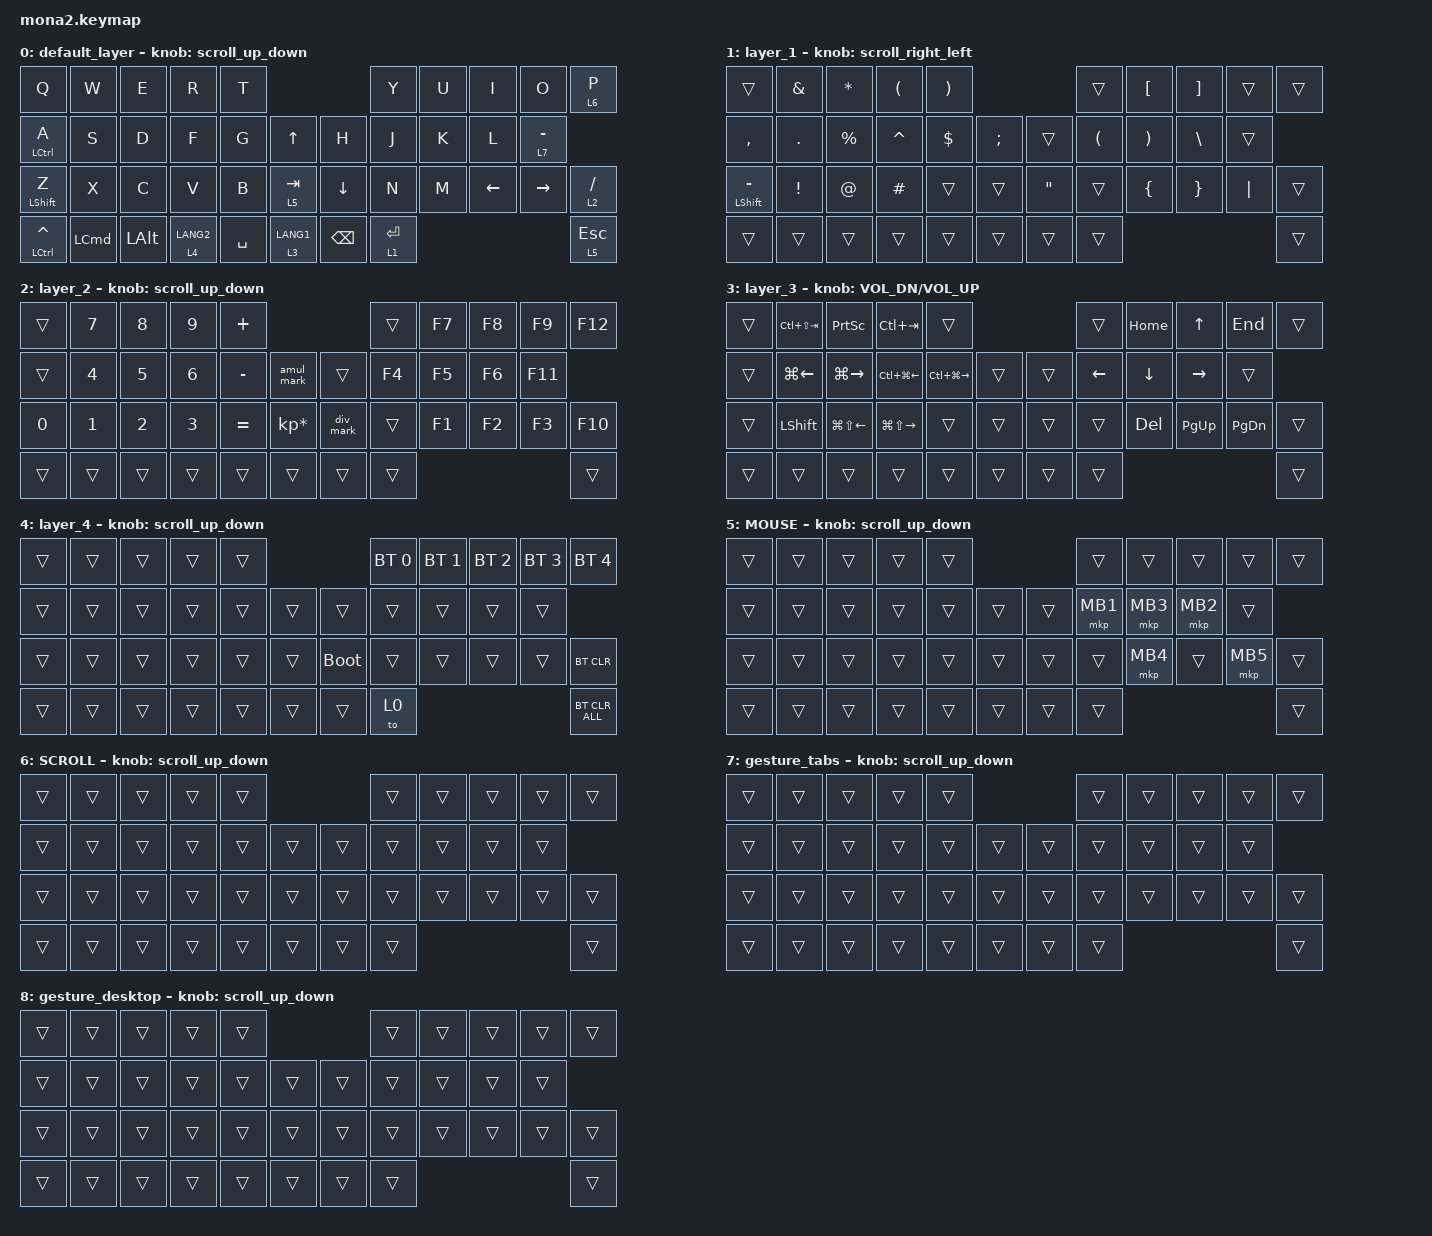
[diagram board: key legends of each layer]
#include <input/processors.dtsi>
#include <dt-bindings/zmk/input_transform.h>
#include <zephyr/dt-bindings/input/input-event-codes.h>
#include <behaviors.dtsi>
#include <dt-bindings/zmk/bt.h>
#include <dt-bindings/zmk/keys.h>
#include <dt-bindings/zmk/pointing.h>
#include <mouse-gesture.dtsi>

#define ZMK_POINTING_DEFAULT_SCRL_VAL 100
#define MOUSE 5
#define SCROLL 6

&mt {
    flavor = "balanced";
    quick-tap-ms = <0>;
};

&lt {
    quick-tap-ms = <300>;
    flavor = "balanced";
};

&zip_mouse_gesture {
    stroke-size = <200>;
    enable-eager-mode;
    always-active;
    suppress-movement;

    tab_previous {
        pattern = <GESTURE_LEFT>;
        bindings = <&kp LC(LS(TAB))>;
    };

    tab_next {
        pattern = <GESTURE_RIGHT>;
        bindings = <&kp LC(TAB)>;
    };

    new_tab {
        pattern = <GESTURE_UP>;
        bindings = <&kp LC(T)>;
    };

    close_tab {
        pattern = <GESTURE_DOWN>;
        bindings = <&kp LC(W)>;
    };
};

/ {
    zip_mouse_gesture_desktop: zip_mouse_gesture_desktop {
        compatible = "zmk,input-processor-mouse-gesture";
        #input-processor-cells = <0>;
        stroke-size = <200>;
        enable-eager-mode;
        always-active;
        suppress-movement;

        desktop_previous {
            pattern = <GESTURE_LEFT>;
            bindings = <&kp LG(LC(LEFT_ARROW))>;
        };

        desktop_next {
            pattern = <GESTURE_RIGHT>;
            bindings = <&kp LG(LC(RIGHT_ARROW))>;
        };

        task_view {
            pattern = <GESTURE_UP>;
            bindings = <&kp LG(TAB)>;
        };

        move_window_to_next_desktop {
            pattern = <GESTURE_DOWN>;
            bindings = <&kp LG(LC(LS(RIGHT_ARROW)))>;
        };
    };

    combos {
        compatible = "zmk,combos";

        layer4_ESC {
            bindings = <&lt 4 ESC>;
            key-positions = <39 38>;
        };

        tab {
            bindings = <&kp TAB>;
            key-positions = <11 12>;
        };

        alt_tab_layer {
            bindings = <&lt 8 LA(TAB)>;
            key-positions = <8 9>;
        };
    };

    macros {
        amul_mark: amul_mark {
            compatible = "zmk,behavior-macro";
            #binding-cells = <0>;
            wait-ms = <40>;
            tap-ms = <40>;
            bindings
                = <&macro_press &kp LALT>
                , <&macro_tap &kp KP_N0 &kp KP_N2 &kp KP_N1 &kp KP_N5>
                , <&macro_release &kp LALT>
                ;
        };

        div_mark: div_mark {
            compatible = "zmk,behavior-macro";
            #binding-cells = <0>;
            wait-ms = <40>;
            tap-ms = <40>;
            bindings
                = <&macro_press &kp LALT>
                , <&macro_tap &kp KP_N0 &kp KP_N2 &kp KP_N4 &kp KP_N7>
                , <&macro_release &kp LALT>
                ;
        };

        to_layer_0: to_layer_0 {
            compatible = "zmk,behavior-macro-one-param";
            #binding-cells = <1>;
            bindings = <&to 0 &macro_param_1to1 &kp MACRO_PLACEHOLDER>;
            label = "TO_LAYER_0";
        };
    };

    behaviors {
        lt_to_layer_0: lt_to_layer_0 {
            compatible = "zmk,behavior-hold-tap";
            label = "LAYER_TAP_TO_0";
            bindings = <&mo>, <&to_layer_0>;

            #binding-cells = <2>;
            tapping-term-ms = <200>;
        };

        scroll_up_down: mouse_wheel_up_down {
            compatible = "zmk,behavior-sensor-rotate";
            #sensor-binding-cells = <0>;
            bindings = <&msc SCRL_DOWN>, <&msc SCRL_UP>;
            tap-ms = <20>;
        };

        scroll_right_left: mouse_wheel_right_left {
            compatible = "zmk,behavior-sensor-rotate";
            #sensor-binding-cells = <0>;
            bindings = <&msc SCRL_LEFT>, <&msc SCRL_RIGHT>;
            tap-ms = <20>;
        };
    };

    keymap {
        compatible = "zmk,keymap";

        default_layer {
            bindings = <
&kp Q                    &kp W         &kp E         &kp R          &kp T                                                          &kp Y        &kp U  &kp I      &kp O    &lt 6 P
&mt LCTRL A              &kp S         &kp D         &kp F          &kp G                                  &kp UP_ARROW            &kp H        &kp J  &kp K      &kp L    &lt 7 MINUS
&mt LEFT_SHIFT Z         &kp X         &kp C         &kp V          &kp B        &lt 5 TAB        &kp DOWN_ARROW             &kp N        &kp M  &kp LEFT_ARROW  &kp RIGHT_ARROW  &lt 2 SLASH
&mt LCTRL CARET        &kp LEFT_COMMAND  &kp LALT      &lt 4 LANG2     &kp SPACE   &lt_to_layer_0 3 LANG1 &kp BACKSPACE             &lt 1 ENTER  &lt 5 ESC
            >;

            sensor-bindings = <&scroll_up_down>;
        };

        layer_1 {
            bindings = <
&trans                    &kp AMPERSAND &kp ASTERISK &kp LEFT_PARENTHESIS  &kp RIGHT_PARENTHESIS                          &trans       &kp LEFT_BRACKET  &kp RIGHT_BRACKET  &trans        &trans
&kp COMMA                &kp DOT      &kp PERCENT   &kp CARET             &kp DOLLAR                    &kp SEMICOLON &trans       &kp LEFT_PARENTHESIS  &kp RIGHT_PARENTHESIS  &kp BACKSLASH  &trans
&mt LEFT_SHIFT MINUS     &kp EXCLAMATION &kp AT_SIGN &kp POUND             &trans        &trans            &kp DOUBLE_QUOTES &trans       &kp LEFT_BRACE       &kp RIGHT_BRACE       &kp PIPE      &trans
&trans                    &trans        &trans       &trans                &trans        &trans            &trans      &trans                                                    &trans
            >;

            sensor-bindings = <&scroll_right_left>;
        };

        layer_2 {
            bindings = <
&trans                    &kp NUMBER_7  &kp NUMBER_8  &kp NUMBER_9          &kp PLUS                                      &trans       &kp F7             &kp F8             &kp F9       &kp F12
&trans                    &kp NUMBER_4  &kp NUMBER_5  &kp NUMBER_6          &kp MINUS             &amul_mark     &trans       &kp F4             &kp F5             &kp F6       &kp F11
&kp NUMBER_0              &kp NUMBER_1  &kp NUMBER_2  &kp NUMBER_3          &kp EQUAL             &kp KP_MULTIPLY &div_mark   &trans           &kp F1             &kp F2       &kp F3       &kp F10
&trans                    &trans        &trans        &trans                &trans                &trans          &trans       &trans                                                    &trans
            >;

            sensor-bindings = <&scroll_up_down>;
        };

        layer_3 {
            bindings = <
&trans  &kp LC(LS(TAB))     &kp PRINTSCREEN         &kp LC(TAB)              &trans                                     &trans  &kp HOME        &kp UP_ARROW    &kp END          &trans
&trans  &kp LG(LEFT_ARROW)  &kp LG(RIGHT_ARROW)     &kp LC(LG(LEFT_ARROW))   &kp LC(LG(RIGHT_ARROW))            &trans  &trans  &kp LEFT_ARROW  &kp DOWN_ARROW  &kp RIGHT_ARROW  &trans
&trans  &kp LEFT_SHIFT      &kp LG(LS(LEFT_ARROW))  &kp LG(LS(RIGHT_ARROW))  &trans                   &trans    &trans  &trans  &kp DELETE      &kp PAGE_UP     &kp PAGE_DOWN    &trans
&trans  &trans              &trans                  &trans                   &trans                   &trans    &trans  &trans                                                   &trans
            >;

            sensor-bindings = <&inc_dec_kp C_VOL_DN C_VOL_UP>;
        };

        layer_4 {
            bindings = <
&trans  &trans  &trans  &trans  &trans                         &bt BT_SEL 0  &bt BT_SEL 1  &bt BT_SEL 2  &bt BT_SEL 3  &bt BT_SEL 4
&trans  &trans  &trans  &trans  &trans            &trans       &trans        &trans        &trans        &trans        &trans
&trans  &trans  &trans  &trans  &trans  &trans    &bootloader  &trans        &trans        &trans        &trans        &bt BT_CLR
&trans  &trans  &trans  &trans  &trans    &trans    &trans       &to 0                                                   &bt BT_CLR_ALL
            >;

            sensor-bindings = <&scroll_up_down>;
        };

        MOUSE {
            bindings = <
&trans  &trans  &trans  &trans  &trans                    &trans  &trans  &trans  &trans  &trans
&trans  &trans  &trans  &trans  &trans            &trans  &trans  &mkp MB1  &mkp MB3  &mkp MB2  &trans
&trans  &trans  &trans  &trans  &trans  &trans    &trans  &trans  &mkp MB4  &trans  &mkp MB5  &trans
&trans  &trans  &trans  &trans  &trans  &trans    &trans  &trans                                                   &trans
            >;

            sensor-bindings = <&scroll_up_down>;
        };

        SCROLL {
            bindings = <
&trans  &trans  &trans  &trans  &trans                    &trans  &trans  &trans  &trans  &trans
&trans  &trans  &trans  &trans  &trans            &trans  &trans  &trans  &trans  &trans  &trans
&trans  &trans  &trans  &trans  &trans  &trans    &trans  &trans  &trans  &trans  &trans  &trans
&trans  &trans  &trans  &trans  &trans  &trans    &trans  &trans                          &trans
            >;

            sensor-bindings = <&scroll_up_down>;
        };

        gesture_tabs {
            bindings = <
&trans  &trans  &trans  &trans  &trans                    &trans  &trans  &trans  &trans  &trans
&trans  &trans  &trans  &trans  &trans            &trans  &trans  &trans  &trans  &trans  &trans
&trans  &trans  &trans  &trans  &trans  &trans    &trans  &trans  &trans  &trans  &trans  &trans
&trans  &trans  &trans  &trans  &trans  &trans    &trans  &trans                          &trans
            >;

            sensor-bindings = <&scroll_up_down>;
        };

        gesture_desktop {
            bindings = <
&trans  &trans  &trans  &trans  &trans                    &trans  &trans  &trans  &trans  &trans
&trans  &trans  &trans  &trans  &trans            &trans  &trans  &trans  &trans  &trans  &trans
&trans  &trans  &trans  &trans  &trans  &trans    &trans  &trans  &trans  &trans  &trans  &trans
&trans  &trans  &trans  &trans  &trans  &trans    &trans  &trans                          &trans
            >;

            sensor-bindings = <&scroll_up_down>;
        };
    };
};
